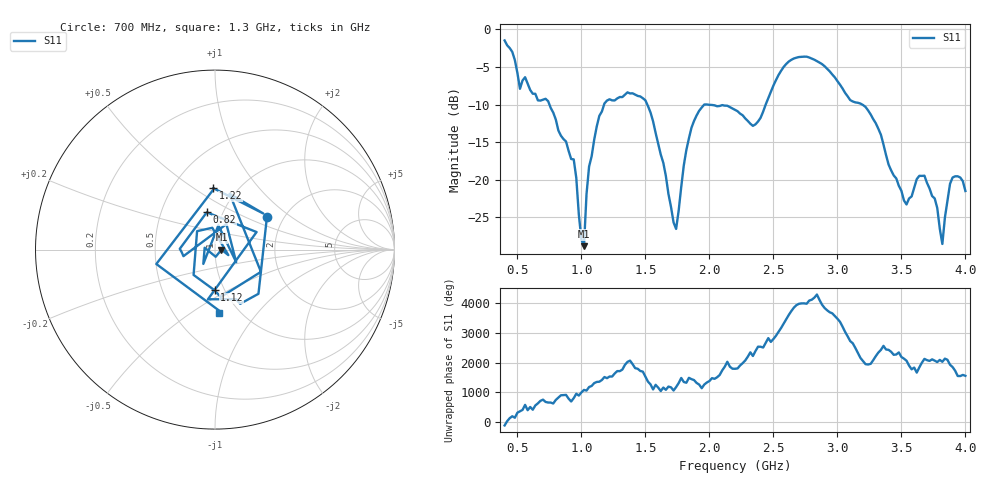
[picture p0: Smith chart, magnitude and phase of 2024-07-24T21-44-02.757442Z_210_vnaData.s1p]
!Created with skrf (http://scikit-rf.org).
# Hz S RI R 50.0
!freq ReS11 ImS11
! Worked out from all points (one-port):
!   181 points, 400 MHz to 4 GHz, reference 50 ohm
!   lowest |S11| = -28.8 dB at 1.02 GHz (marker M1), VSWR 1.08, Z = 53.8 - j0.0131 ohm
!   |S11| at or under -10 dB: 1.515 GHz to 1.96 GHz (445 MHz wide, 25.6 % of centre); 1.984 GHz to 2.44 GHz (455.9 MHz wide, 20.6 % of centre); 3.194 GHz to end of sweep (the widest 3 of 4)
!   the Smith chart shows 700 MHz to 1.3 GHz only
!   S11 on the Smith chart (normalised r, x): 700 MHz: 1.64, +0.67; 820 MHz: 0.84, +0.37; 1.12 GHz: 0.90, -0.43; 1.22 GHz: 0.77, +0.60; 1.3 GHz: 0.81, -0.65
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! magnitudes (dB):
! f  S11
! 400 MHz  -1.5
! 520 MHz  -7.9
! 700 MHz  -9.4
! 820 MHz  -13.4
! 860 MHz  -14.6
! 940 MHz  -17.3
! 1.02 GHz  -28.8
! 1.06 GHz  -18.2
! 1.12 GHz  -12.9
! 1.22 GHz  -9.3
! 1.3 GHz  -9.0
! 1.5 GHz  -9.4
! 1.64 GHz  -17.8
! 1.72 GHz  -25.7
! 1.76 GHz  -24.1
! 1.82 GHz  -16.0
! 1.92 GHz  -10.8
! 2.2 GHz  -10.7
! 2.36 GHz  -12.6
! 2.66 GHz  -3.9
! 3.1 GHz  -9.4
! 3.26 GHz  -11.3
! 3.56 GHz  -22.5
! 3.68 GHz  -19.5
! 3.78 GHz  -23.7
! 3.82 GHz  -28.5
! 3.9 GHz  -19.7
! 4 GHz  -21.5
